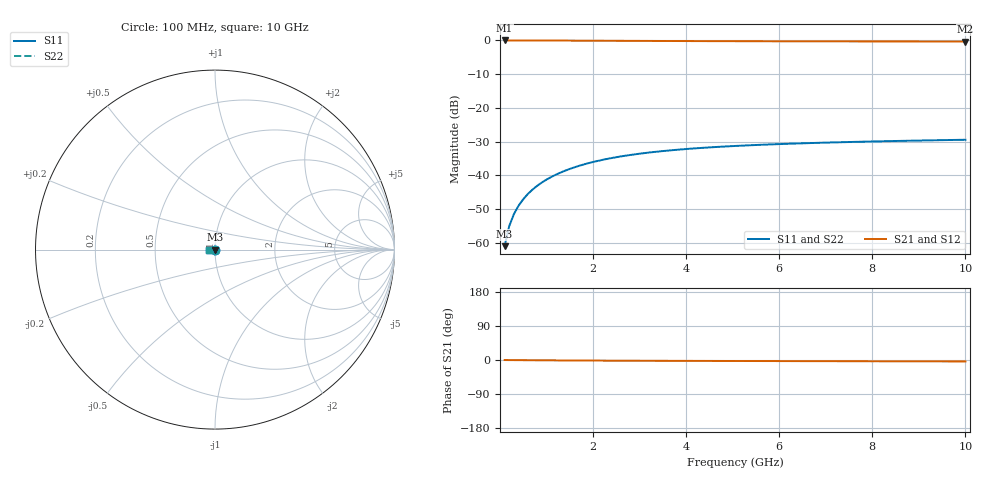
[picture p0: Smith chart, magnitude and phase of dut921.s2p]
! Touchstone file exported from HFSS 2024.1.0
!  File:  C:/UserFiles/LocalFiles/RDL_TSV_Batchsim/temp_TSV1_921_1779946169.aedt
!  Generated:  01:36:11 PM May 28, 2026
!  Design:  TSV1
!  Project:  temp_TSV1_921_1779946169
!  Setup:  Setup1
!  Solution:  Sweep
! Variables:
!  dtsv = 10um
!  hbump = 3um
!  htsv = 56.79um
!  lrdl = 252.1521522um
!  p = 40
!  p1 = 46.29um
!  t = 500um
!  trdl = 3um
!  wrdl = 24.89489489um
# GHz S MA R 50.000000
! Terminal data exported
! Port[1] = TSV22_T1
! Port[2] = TSV22_T2
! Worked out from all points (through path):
!   100 points, 100 MHz to 10 GHz, reference 50 ohm
!   highest |S21| = 0.00 dB at 100 MHz (marker M1); lowest = -0.3 dB at 10 GHz (marker M2)
!   lowest |S11| = -60.9 dB at 100 MHz (marker M3), VSWR 1.00, Z = 50 - j0.0893 ohm
!   |S11| at or under -10 dB: start of sweep to end of sweep
!   |S22| runs from -60.9 to -29.4 dB; largest |S21 - S12| = 6.3e-15
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0.1  0.000898 -84.0  0.9998 -0.1  0.9998 -0.1  0.000898 -84.0
! Gamma 0 0 0 0
! Port Impedance 50 0 50 0
0.2  0.001788 -89.4  0.9998 -0.2  0.9998 -0.2  0.001788 -89.4
0.3  0.002681 -92.3  0.9996 -0.3  0.9996 -0.3  0.002681 -92.3
0.4  0.00357 -94.7  0.9994 -0.4  0.9994 -0.4  0.00357 -94.7
0.5  0.004453 -96.8  0.9991 -0.4  0.9991 -0.4  0.004453 -96.8
0.6  0.005326 -98.8  0.9988 -0.5  0.9988 -0.5  0.005326 -98.8
0.7  0.006188 -100.7  0.9985 -0.6  0.9985 -0.6  0.006188 -100.7
0.8  0.007036 -102.6  0.9981 -0.7  0.9981 -0.7  0.007036 -102.6
0.9  0.00787 -104.4  0.9977 -0.8  0.9977 -0.8  0.00787 -104.4
1.1  0.00949 -107.8  0.9967 -0.9  0.9967 -0.9  0.00949 -107.8
1.4  0.01178 -112.7  0.9951 -1.2  0.9951 -1.2  0.01178 -112.7
1.6  0.01322 -115.8  0.9938 -1.3  0.9938 -1.3  0.01322 -115.8
1.8  0.01457 -118.8  0.9926 -1.4  0.9926 -1.4  0.01457 -118.8
2.1  0.01644 -123.0  0.9906 -1.6  0.9906 -1.6  0.01644 -123.0
2.5  0.01866 -128.2  0.988 -1.8  0.988 -1.8  0.01866 -128.2
2.9  0.02059 -133.0  0.9855 -2.0  0.9855 -2.0  0.02059 -133.0
3.4  0.02264 -138.3  0.9826 -2.1  0.9826 -2.1  0.02264 -138.3
4.2  0.02525 -145.7  0.9786 -2.4  0.9786 -2.4  0.02525 -145.7
5.1  0.02747 -152.8  0.975 -2.6  0.975 -2.6  0.02747 -152.8
6.7  0.03026 -162.8  0.9703 -3.0  0.9703 -3.0  0.03026 -162.8
8.4  0.03233 -171.2  0.967 -3.4  0.967 -3.4  0.03233 -171.2
10  0.03383 -177.8  0.9648 -3.8  0.9648 -3.8  0.03383 -177.8
